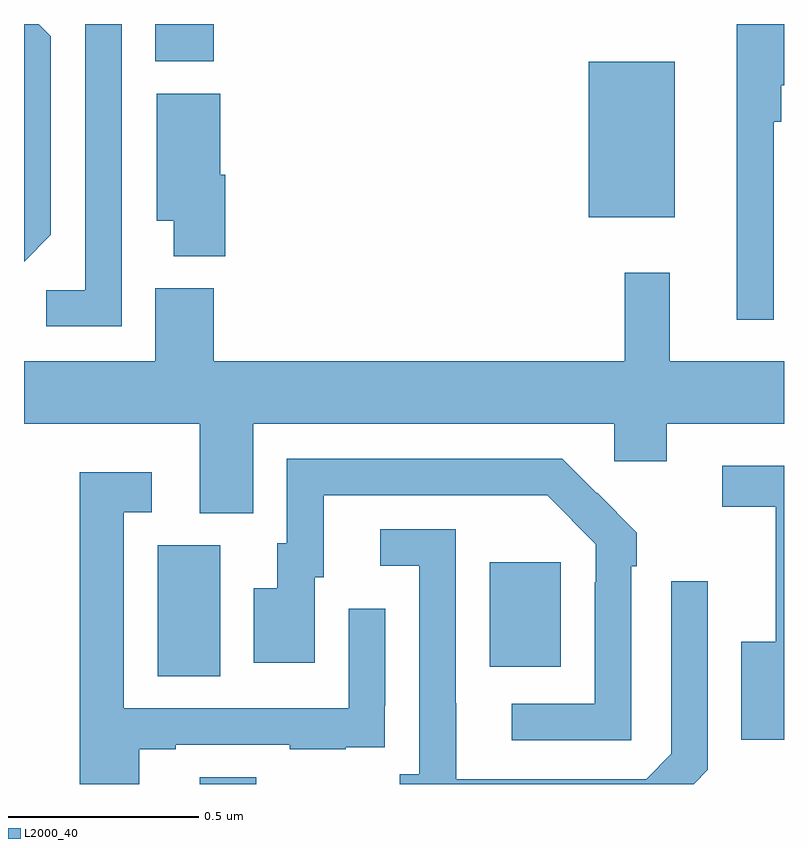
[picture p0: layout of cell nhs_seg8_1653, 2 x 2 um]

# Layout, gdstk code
import gdstk
lib = gdstk.Library(unit=1e-6, precision=1e-09)
def R(c, l, rs):  # rectangles x0, y0, x1, y1
    for r in rs: c.add(gdstk.rectangle(r[:2], r[2:], *l))
def P(c, l, *ps):  # polygons
    for p in ps: c.add(gdstk.Polygon(p, *l))
L2000_40 = (2000, 40)

nhs_seg8_1653 = lib.new_cell('nhs_seg8_1653')
R(nhs_seg8_1653, L2000_40, [(133.463,1100.9,133.611,1100.918), (133.352,1101.184,133.516,1101.528), (134.225,1101.209,134.413,1101.484), (134.486,1102.391,134.713,1102.801), (133.346,1102.802,133.499,1102.9)])
P(nhs_seg8_1653, L2000_40, [(133.071,1102.346),(133.071,1102.868),(133.039,1102.9),(133,1102.9),(133,1102.274)],
  [(133.257,1102.9),(133.161,1102.9),(133.161,1102.2),(133.059,1102.2),(133.059,1102.104),(133.257,1102.104)],
  [(134.973,1102.643),(134.993,1102.643),(134.993,1102.739),(135,1102.739),(135,1102.9),(134.876,1102.9),(134.876,1102.122),(134.973,1102.122)],
  [(133.529,1102.503),(133.516,1102.503),(133.516,1102.717),(133.349,1102.717),(133.349,1102.382),(133.394,1102.382),(133.394,1102.289),(133.529,1102.289)],
  [(133.603,1101.848),(134.553,1101.848),(134.553,1101.75),(134.692,1101.75),(134.692,1101.848),(135,1101.848),(135,1102.012),(134.699,1102.012),(134.699,1102.246),(134.581,1102.246),(134.581,1102.012),(133.499,1102.012),(133.499,1102.204),(133.346,1102.204),(133.346,1102.012),(133,1102.012),(133,1101.848),(133.463,1101.848),(133.463,1101.613),(133.603,1101.613)],
  [(134.598,1101.473),(134.613,1101.473),(134.613,1101.561),(134.508,1101.666),(134.507,1101.665),(134.416,1101.756),(133.692,1101.756),(133.692,1101.534),(133.667,1101.534),(133.667,1101.415),(133.604,1101.415),(133.604,1101.219),(133.765,1101.219),(133.765,1101.444),(133.789,1101.444),(133.789,1101.66),(134.377,1101.66),(134.505,1101.531),(134.505,1101.431),(134.502,1101.431),(134.502,1101.111),(134.283,1101.111),(134.283,1101.015),(134.598,1101.015)],
  [(135,1101.738),(134.838,1101.738),(134.838,1101.63),(134.978,1101.63),(134.978,1101.274),(134.888,1101.274),(134.888,1101.017),(135,1101.017)],
  [(133.303,1100.991),(133.399,1100.991),(133.399,1101.003),(133.699,1101.003),(133.699,1100.991),(133.847,1100.991),(133.847,1100.997),(133.949,1100.997),(133.949,1101.106),(133.95,1101.106),(133.95,1101.361),(133.854,1101.361),(133.854,1101.099),(133.263,1101.099),(133.263,1101.615),(133.336,1101.615),(133.336,1101.721),(133.147,1101.721),(133.147,1100.9),(133.303,1100.9)],
  [(134.799,1100.937),(134.799,1101.433),(134.703,1101.433),(134.703,1100.979),(134.637,1100.913),(134.137,1100.913),(134.137,1101.113),(134.136,1101.113),(134.136,1101.57),(133.938,1101.57),(133.938,1101.474),(134.04,1101.474),(134.04,1100.926),(133.989,1100.926),(133.989,1100.9),(134.762,1100.9)])

lib.write_gds('nhs_seg8_1653.gds')
